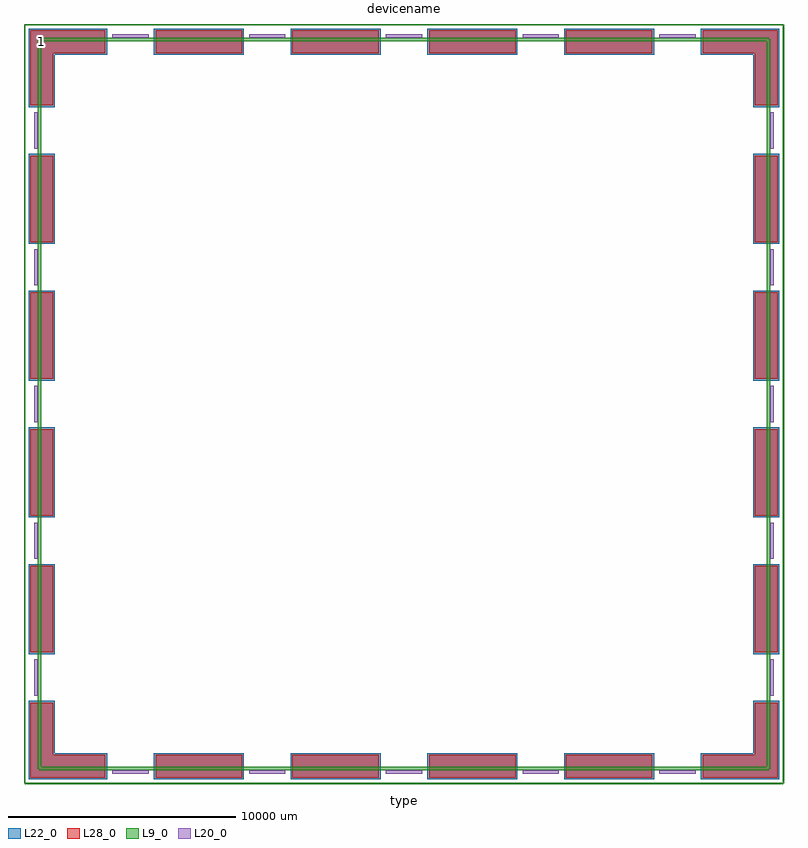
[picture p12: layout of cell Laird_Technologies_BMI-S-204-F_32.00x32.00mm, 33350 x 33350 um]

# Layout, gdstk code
import gdstk
lib = gdstk.Library(unit=1e-6, precision=1e-09)
def R(c, l, rs):  # rectangles x0, y0, x1, y1
    for r in rs: c.add(gdstk.rectangle(r[:2], r[2:], *l))
def A(c, l, x, y, w, h, nx, ny, dx, dy):  # array of equal rectangles
    R(c, l, [(x+i*dx, y+j*dy, x+i*dx+w, y+j*dy+h) for i in range(nx) for j in range(ny)])
L9_0 = (9, 0)
L20_0 = (20, 0)
L22_0 = (22, 0)
L28_0 = (28, 0)

laird_technologies_bmi_s = lib.new_cell('Laird_Technologies_BMI-S-204-F_32.00x32.00mm')
A(laird_technologies_bmi_s, L22_0, -10975, -16475, 3950, 1150, 4, 2, 6000, 31800)
A(laird_technologies_bmi_s, L22_0, -16475, -10975, 1150, 3950, 1, 4, 0, 6000)
A(laird_technologies_bmi_s, L22_0, 15325, -10975, 1150, 3950, 1, 4, 0, 6000)
R(laird_technologies_bmi_s, L22_0, [(-16475,-16475,-15325,-15325), (-15475,-16475,-13025,-15325), (13025,-16475,15475,-15325), (15325,-16475,16475,-15325), (-16475,-15475,-15325,-13025), (15325,-15475,16475,-13025), (-16475,13025,-15325,15475), (15325,13025,16475,15475), (-16475,15325,-15325,16475), (-15475,15325,-13025,16475), (13025,15325,15475,16475), (15325,15325,16475,16475)])
A(laird_technologies_bmi_s, L28_0, -10900, -16400, 3800, 1000, 4, 2, 6000, 31800)
A(laird_technologies_bmi_s, L28_0, -16400, -10900, 1000, 3800, 1, 4, 0, 6000)
A(laird_technologies_bmi_s, L28_0, 15400, -10900, 1000, 3800, 1, 4, 0, 6000)
R(laird_technologies_bmi_s, L28_0, [(-16400,-16400,-15400,-15400), (-15400,-16400,-13100,-15400), (13100,-16400,15400,-15400), (15400,-16400,16400,-15400), (-16400,-15400,-15400,-13100), (15400,-15400,16400,-13100), (-16400,13100,-15400,15400), (15400,13100,16400,15400), (-16400,15400,-15400,16400), (-15400,15400,-13100,16400), (13100,15400,15400,16400), (15400,15400,16400,16400)])
laird_technologies_bmi_s.add(gdstk.FlexPath([(16150,-11200),(16150,-12800)], 149.998, ends="flush", simple_path=True, layer=20, datatype=0))  # L20_0
laird_technologies_bmi_s.add(gdstk.FlexPath([(-16150,-11200),(-16150,-12800)], 149.998, ends="flush", simple_path=True, layer=20, datatype=0))  # L20_0
laird_technologies_bmi_s.add(gdstk.FlexPath([(16150,-5200),(16150,-6800)], 149.998, ends="flush", simple_path=True, layer=20, datatype=0))  # L20_0
laird_technologies_bmi_s.add(gdstk.FlexPath([(-16150,-5200),(-16150,-6800)], 149.998, ends="flush", simple_path=True, layer=20, datatype=0))  # L20_0
laird_technologies_bmi_s.add(gdstk.FlexPath([(16150,800),(16150,-800)], 149.998, ends="flush", simple_path=True, layer=20, datatype=0))  # L20_0
laird_technologies_bmi_s.add(gdstk.FlexPath([(-16150,800),(-16150,-800)], 149.998, ends="flush", simple_path=True, layer=20, datatype=0))  # L20_0
laird_technologies_bmi_s.add(gdstk.FlexPath([(16150,6800),(16150,5200)], 149.998, ends="flush", simple_path=True, layer=20, datatype=0))  # L20_0
laird_technologies_bmi_s.add(gdstk.FlexPath([(-16150,6800),(-16150,5200)], 149.998, ends="flush", simple_path=True, layer=20, datatype=0))  # L20_0
laird_technologies_bmi_s.add(gdstk.FlexPath([(16150,12800),(16150,11200)], 149.998, ends="flush", simple_path=True, layer=20, datatype=0))  # L20_0
laird_technologies_bmi_s.add(gdstk.FlexPath([(-16150,12800),(-16150,11200)], 149.998, ends="flush", simple_path=True, layer=20, datatype=0))  # L20_0
laird_technologies_bmi_s.add(gdstk.FlexPath([(11200,-16150),(12800,-16150)], 149.998, ends="flush", simple_path=True, layer=20, datatype=0))  # L20_0
laird_technologies_bmi_s.add(gdstk.FlexPath([(11200,16150),(12800,16150)], 149.998, ends="flush", simple_path=True, layer=20, datatype=0))  # L20_0
laird_technologies_bmi_s.add(gdstk.FlexPath([(5200,-16150),(6800,-16150)], 149.998, ends="flush", simple_path=True, layer=20, datatype=0))  # L20_0
laird_technologies_bmi_s.add(gdstk.FlexPath([(5200,16150),(6800,16150)], 149.998, ends="flush", simple_path=True, layer=20, datatype=0))  # L20_0
laird_technologies_bmi_s.add(gdstk.FlexPath([(-800,-16150),(800,-16150)], 149.998, ends="flush", simple_path=True, layer=20, datatype=0))  # L20_0
laird_technologies_bmi_s.add(gdstk.FlexPath([(-800,16150),(800,16150)], 149.998, ends="flush", simple_path=True, layer=20, datatype=0))  # L20_0
laird_technologies_bmi_s.add(gdstk.FlexPath([(-6800,-16150),(-5200,-16150)], 149.998, ends="flush", simple_path=True, layer=20, datatype=0))  # L20_0
laird_technologies_bmi_s.add(gdstk.FlexPath([(-6800,16150),(-5200,16150)], 149.998, ends="flush", simple_path=True, layer=20, datatype=0))  # L20_0
laird_technologies_bmi_s.add(gdstk.FlexPath([(-12800,-16150),(-11200,-16150)], 149.998, ends="flush", simple_path=True, layer=20, datatype=0))  # L20_0
laird_technologies_bmi_s.add(gdstk.FlexPath([(-12800,16150),(-11200,16150)], 149.998, ends="flush", simple_path=True, layer=20, datatype=0))  # L20_0
laird_technologies_bmi_s.add(gdstk.FlexPath([(16000,16000),(-16000,16000)], 149.998, ends="flush", simple_path=True, layer=9, datatype=0))  # L9_0
laird_technologies_bmi_s.add(gdstk.FlexPath([(16000,-16000),(16000,16000)], 149.998, ends="flush", simple_path=True, layer=9, datatype=0))  # L9_0
laird_technologies_bmi_s.add(gdstk.FlexPath([(-16000,-16000),(16000,-16000)], 149.998, ends="flush", simple_path=True, layer=9, datatype=0))  # L9_0
laird_technologies_bmi_s.add(gdstk.FlexPath([(-16000,16000),(-16000,-16000)], 149.998, ends="flush", simple_path=True, layer=9, datatype=0))  # L9_0
laird_technologies_bmi_s.add(gdstk.FlexPath([(16650,16650),(-16650,16650)], 50, ends="flush", simple_path=True, layer=9, datatype=0))  # L9_0
laird_technologies_bmi_s.add(gdstk.FlexPath([(16650,-16650),(16650,16650)], 50, ends="flush", simple_path=True, layer=9, datatype=0))  # L9_0
laird_technologies_bmi_s.add(gdstk.FlexPath([(-16650,-16650),(16650,-16650)], 50, ends="flush", simple_path=True, layer=9, datatype=0))  # L9_0
laird_technologies_bmi_s.add(gdstk.FlexPath([(-16650,16650),(-16650,-16650)], 50, ends="flush", simple_path=True, layer=9, datatype=0))  # L9_0
laird_technologies_bmi_s.add(gdstk.Label('1', (-15900,15900), layer=28, texttype=0))
laird_technologies_bmi_s.add(gdstk.Label('type', (0,-17400), layer=9, texttype=0))
laird_technologies_bmi_s.add(gdstk.Label('devicename', (0,17400), layer=9, texttype=0))

lib.write_gds('Laird_Technologies_BMI-S-204-F_32.00x32.00mm.gds')
